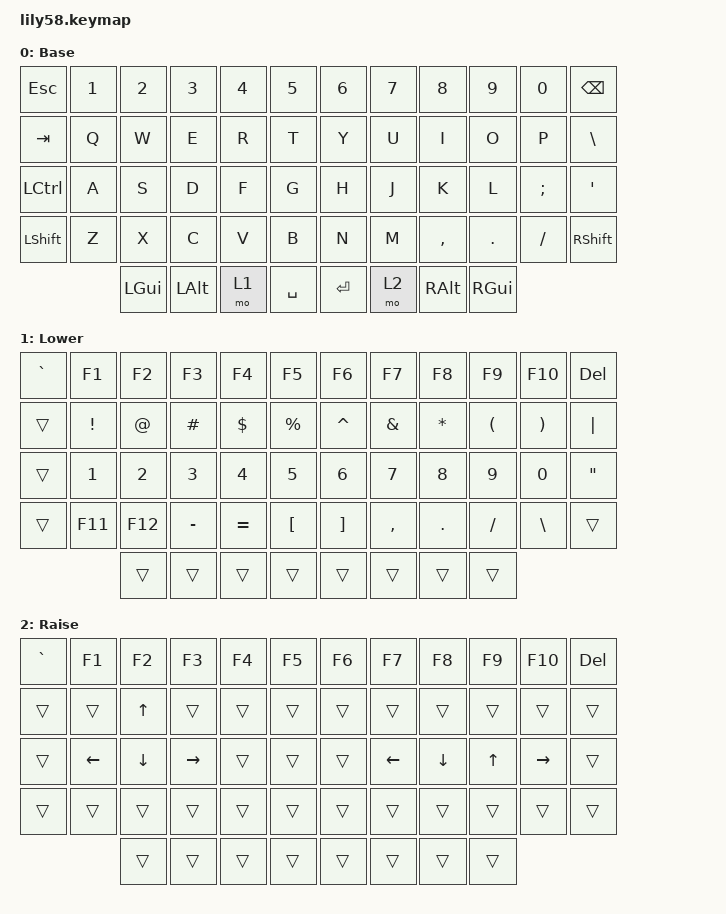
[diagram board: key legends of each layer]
#include <behaviors.dtsi>
#include <dt-bindings/zmk/keys.h>

/ {
    keymap {
        compatible = "zmk,keymap";

        default_layer {
            display-name = "Base";
            bindings = <
                &kp ESC    &kp N1     &kp N2     &kp N3     &kp N4     &kp N5          &kp N6     &kp N7     &kp N8     &kp N9     &kp N0     &kp BSPC
                &kp TAB    &kp Q      &kp W      &kp E      &kp R      &kp T           &kp Y      &kp U      &kp I      &kp O      &kp P      &kp BSLH
                &kp LCTRL  &kp A      &kp S      &kp D      &kp F      &kp G           &kp H      &kp J      &kp K      &kp L      &kp SEMI   &kp SQT
                &kp LSHFT  &kp Z      &kp X      &kp C      &kp V      &kp B           &kp N      &kp M      &kp COMMA  &kp DOT    &kp FSLH   &kp RSHFT
                                      &kp LGUI   &kp LALT   &mo 1      &kp SPACE       &kp RET    &mo 2      &kp RALT   &kp RGUI
            >;
        };

        lower_layer {
            display-name = "Lower";
            bindings = <
                &kp GRAVE  &kp F1     &kp F2     &kp F3     &kp F4     &kp F5          &kp F6     &kp F7     &kp F8     &kp F9     &kp F10    &kp DEL
                &trans     &kp EXCL   &kp AT     &kp HASH   &kp DLLR   &kp PRCNT       &kp CARET  &kp AMPS   &kp STAR   &kp LPAR   &kp RPAR   &kp PIPE
                &trans     &kp N1     &kp N2     &kp N3     &kp N4     &kp N5          &kp N6     &kp N7     &kp N8     &kp N9     &kp N0     &kp DQT
                &trans     &kp F11    &kp F12    &kp MINUS  &kp EQUAL  &kp LBKT        &kp RBKT   &kp COMMA  &kp DOT    &kp FSLH   &kp BSLH   &trans
                                      &trans     &trans     &trans     &trans          &trans     &trans     &trans     &trans
            >;
        };

        raise_layer {
            display-name = "Raise";
            bindings = <
                &kp GRAVE  &kp F1     &kp F2     &kp F3     &kp F4     &kp F5          &kp F6     &kp F7     &kp F8     &kp F9     &kp F10    &kp DEL
                &trans     &trans     &kp UP     &trans     &trans     &trans          &trans     &trans     &trans     &trans     &trans     &trans
                &trans     &kp LEFT   &kp DOWN   &kp RIGHT  &trans     &trans          &trans     &kp LEFT   &kp DOWN   &kp UP     &kp RIGHT  &trans
                &trans     &trans     &trans     &trans     &trans     &trans          &trans     &trans     &trans     &trans     &trans     &trans
                                      &trans     &trans     &trans     &trans          &trans     &trans     &trans     &trans
            >;
        };
    };
};
